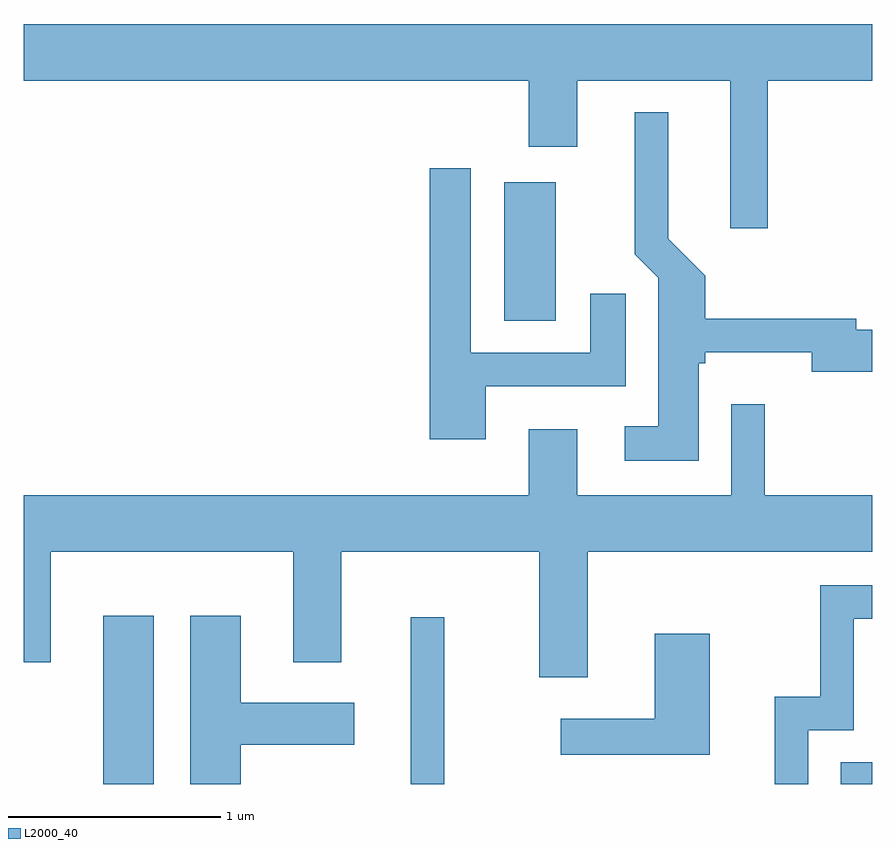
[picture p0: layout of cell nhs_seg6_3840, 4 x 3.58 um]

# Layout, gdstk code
import gdstk
lib = gdstk.Library(unit=1e-6, precision=1e-09)
def R(c, l, rs):  # rectangles x0, y0, x1, y1
    for r in rs: c.add(gdstk.rectangle(r[:2], r[2:], *l))
def P(c, l, *ps):  # polygons
    for p in ps: c.add(gdstk.Polygon(p, *l))
L2000_40 = (2000, 40)

nhs_seg6_3840 = lib.new_cell('nhs_seg6_3840')
R(nhs_seg6_3840, L2000_40, [(299.986,1662.162,300.224,1662.954), (301.436,1662.162,301.594,1662.948), (303.461,1662.162,303.611,1662.264), (301.876,1664.346,302.119,1664.999)])
P(nhs_seg6_3840, L2000_40, [(303.119,1665.476),(303.611,1665.476),(303.611,1665.744),(299.611,1665.744),(299.611,1665.476),(301.991,1665.476),(301.991,1665.166),(302.219,1665.166),(302.219,1665.476),(302.941,1665.476),(302.941,1664.781),(303.119,1664.781)],
  [(302.794,1664.146),(302.824,1664.146),(302.824,1664.196),(303.326,1664.196),(303.326,1664.106),(303.611,1664.106),(303.611,1664.304),(303.534,1664.304),(303.534,1664.354),(302.824,1664.354),(302.824,1664.557),(302.649,1664.732),(302.649,1665.328),(302.491,1665.328),(302.491,1664.659),(302.601,1664.549),(302.601,1663.849),(302.443,1663.849),(302.443,1663.686),(302.794,1663.686)],
  [(301.789,1664.036),(302.449,1664.036),(302.449,1664.473),(302.281,1664.473),(302.281,1664.194),(301.719,1664.194),(301.719,1665.064),(301.526,1665.064),(301.526,1663.786),(301.789,1663.786)],
  [(302.269,1663.256),(303.611,1663.256),(303.611,1663.524),(303.104,1663.524),(303.104,1663.953),(302.946,1663.953),(302.946,1663.524),(302.219,1663.524),(302.219,1663.834),(301.991,1663.834),(301.991,1663.524),(299.611,1663.524),(299.611,1662.736),(299.739,1662.736),(299.739,1663.256),(300.881,1663.256),(300.881,1662.736),(301.109,1662.736),(301.109,1663.256),(302.041,1663.256),(302.041,1662.666),(302.269,1662.666)],
  [(303.309,1662.416),(303.524,1662.416),(303.524,1662.941),(303.611,1662.941),(303.611,1663.099),(303.366,1663.099),(303.366,1662.574),(303.151,1662.574),(303.151,1662.162),(303.309,1662.162)],
  [(300.634,1662.346),(301.169,1662.346),(301.169,1662.544),(300.634,1662.544),(300.634,1662.954),(300.396,1662.954),(300.396,1662.162),(300.634,1662.162)],
  [(302.844,1662.869),(302.586,1662.869),(302.586,1662.469),(302.143,1662.469),(302.143,1662.301),(302.844,1662.301)])

lib.write_gds('nhs_seg6_3840.gds')
